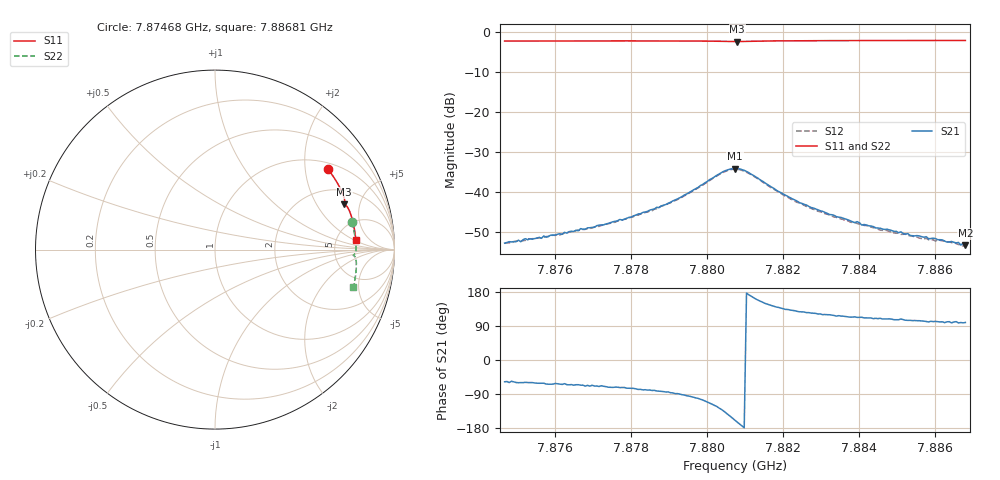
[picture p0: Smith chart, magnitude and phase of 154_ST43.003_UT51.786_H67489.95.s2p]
#  HZ  S  DB  R  50.00
! Rohde & Schwarz Vector Network Analyzer
! Rohde-Schwarz,ZNB20-2Port,1311601062101988,3.16
! Created: UTC 1/12/2023, 6:40:46 PM
! freq[Hz]  db:S11  ang:S11  db:S21  ang:S21  db:S12  ang:S12  db:S22  ang:S22
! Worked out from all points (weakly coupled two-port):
!   201 points, 7.87468 GHz to 7.88681 GHz, reference 50 ohm
!   highest |S21| = -34.14 dB at 7.88074 GHz (marker M1); lowest = -53.4 dB at 7.88681 GHz (marker M2)
!   lowest |S11| = -2.4 dB at 7.88081 GHz (marker M3), VSWR 7.43, Z = 148 + j178 ohm
!   |S11| at or under -10 dB: nowhere
!   |S22| runs from -2.3 to -1.9 dB; largest |S21 - S12| = 0.0013
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7.874679e9  -2.24 35.3  -52.81 -57.5  -52.88 -59.2  -2.19 11.3
7.875649e9  -2.22 32.7  -51.61 -61.3  -51.53 -65.2  -2.16 9.0
7.87571e9  -2.23 32.5  -51.01 -61.3  -51.30 -65.2  -2.16 8.9
7.876741e9  -2.21 29.7  -49.36 -66.4  -49.37 -70.1  -2.13 6.4
7.877894e9  -2.19 26.5  -46.58 -74.3  -46.73 -77.9  -2.10 3.7
7.878743e9  -2.19 24.1  -43.94 -82.3  -43.81 -86.0  -2.10 1.7
7.879471e9  -2.20 22.1  -40.51 -94.2  -40.71 -97.6  -2.11 -0.1
7.880441e9  -2.32 19.6  -34.88 -134.4  -35.06 -137.7  -2.21 -2.2
7.880744e9  -2.35 19.3  -34.14 -159.2  -34.32 -162.4  -2.26 -2.4
7.880805e9  -2.35 19.3  -34.14 -164.1  -34.35 -167.4  -2.26 -2.4
7.881108e9  -2.30 18.9  -35.17 172.0  -35.36 168.9  -2.21 -2.6
7.882079e9  -2.17 16.4  -40.84 133.5  -41.16 131.5  -2.06 -4.6
7.882807e9  -2.14 14.3  -44.02 123.5  -44.36 120.0  -2.02 -6.4
7.883898e9  -2.12 11.4  -47.71 113.9  -47.64 110.2  -1.99 -8.8
7.883959e9  -2.12 11.2  -47.44 112.5  -47.90 109.7  -1.99 -9.0
7.88408e9  -2.12 10.9  -48.29 112.7  -48.17 109.6  -1.99 -9.3
7.884808e9  -2.11 9.0  -49.49 108.6  -49.91 104.8  -1.98 -10.9
7.885354e9  -2.10 7.5  -50.91 104.7  -50.97 102.5  -1.97 -12.1
7.886628e9  -2.09 4.2  -52.64 97.8  -53.18 97.5  -1.96 -14.8
7.886688e9  -2.08 4.1  -53.32 98.9  -53.11 94.3  -1.95 -15.0
7.886749e9  -2.09 3.9  -52.84 98.0  -53.58 95.2  -1.95 -15.1
7.88681e9  -2.09 3.7  -53.39 99.0  -53.09 96.6  -1.95 -15.2
